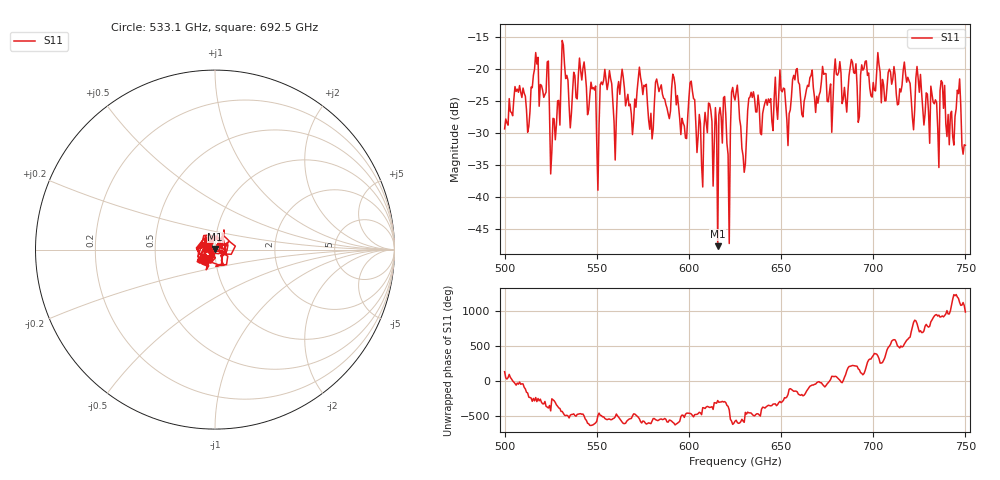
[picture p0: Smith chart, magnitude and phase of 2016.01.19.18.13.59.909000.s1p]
!Created with skrf (http://scikit-rf.org).
# GHz S RI R 50.0
!freq ReS11 ImS11
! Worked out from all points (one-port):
!   401 points, 500 GHz to 750 GHz, reference 50 ohm
!   lowest |S11| = -47.7 dB at 615.6 GHz (marker M1), VSWR 1.01, Z = 50.1 + j0.401 ohm
!   |S11| at or under -10 dB: start of sweep to end of sweep
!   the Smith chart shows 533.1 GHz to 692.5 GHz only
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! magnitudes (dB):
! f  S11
! 500 GHz  -29.3
! 513.1 GHz  -29.0
! 516.9 GHz  -17.4
! 526.2 GHz  -27.7
! 531.2 GHz  -15.5
! 535.6 GHz  -29.2
! 541.9 GHz  -21.7
! 550 GHz  -31.7
! 553.1 GHz  -22.4
! 560 GHz  -34.2
! 562.5 GHz  -23.9
! 568.8 GHz  -27.0
! 574.4 GHz  -22.2
! 579.4 GHz  -26.9
! 583.1 GHz  -22.5
! 593.8 GHz  -24.1
! 615.6 GHz  -47.7
! 618.8 GHz  -24.5
! 621.2 GHz  -33.4
! 625 GHz  -24.8
! 630 GHz  -36.1
! 633.8 GHz  -23.6
! 656.2 GHz  -21.6
! 687.5 GHz  -19.7
! 718.8 GHz  -21.2
! 742.5 GHz  -26.6
! 746.2 GHz  -23.8
! 750 GHz  -31.9
